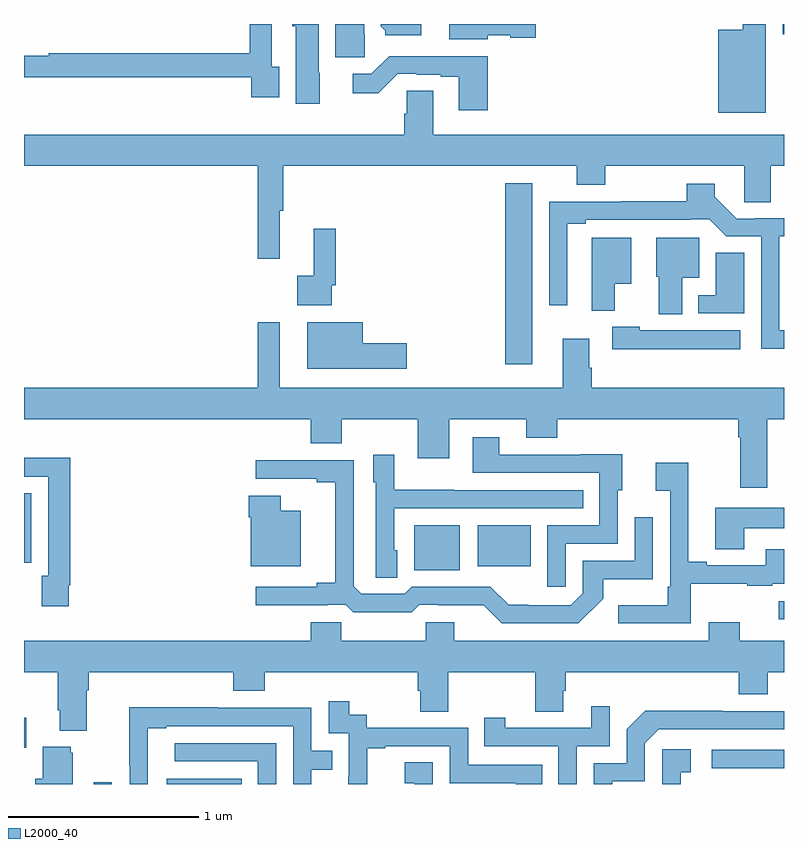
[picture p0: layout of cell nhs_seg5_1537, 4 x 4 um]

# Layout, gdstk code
import gdstk
lib = gdstk.Library(unit=1e-6, precision=1e-09)
def R(c, l, rs):  # rectangles x0, y0, x1, y1
    for r in rs: c.add(gdstk.rectangle(r[:2], r[2:], *l))
def P(c, l, *ps):  # polygons
    for p in ps: c.add(gdstk.Polygon(p, *l))
L2000_40 = (2000, 40)

nhs_seg5_1537 = lib.new_cell('nhs_seg5_1537')
R(nhs_seg5_1537, L2000_40, [(203.367,894.799,203.463,894.808), (203.75,894.799,204.146,894.826), (206.619,894.882,207,894.978), (203,894.991,203.011,895.147), (206.973,895.667,207,895.761), (205.055,895.925,205.294,896.161), (205.388,895.946,205.666,896.161), (203,895.964,203.038,896.33), (205.532,897.009,205.675,897.961), (206.993,898.745,207,898.799)])
P(nhs_seg5_1537, L2000_40, [(205.44,898.739),(205.56,898.739),(205.56,898.727),(205.693,898.727),(205.693,898.799),(205.238,898.799),(205.238,898.718),(205.44,898.718)],
  [(204.556,898.542),(204.55,898.542),(204.55,898.799),(204.413,898.799),(204.413,898.788),(204.431,898.788),(204.431,898.38),(204.556,898.38)],
  [(206.905,898.799),(206.784,898.799),(206.784,898.768),(206.654,898.768),(206.654,898.331),(206.905,898.331)],
  [(204.343,898.574),(204.303,898.574),(204.303,898.799),(204.187,898.799),(204.187,898.646),(203.131,898.646),(203.131,898.631),(203,898.631),(203,898.518),(204.195,898.518),(204.195,898.413),(204.343,898.413)],
  [(205.09,898.799),(204.878,898.799),(204.878,898.786),(204.9,898.764),(204.9,898.739),(205.09,898.739)],
  [(204.794,898.746),(204.79,898.746),(204.79,898.799),(204.638,898.799),(204.638,898.623),(204.794,898.623)],
  [(205.442,898.63),(204.922,898.63),(204.828,898.536),(204.729,898.536),(204.729,898.434),(204.864,898.434),(204.966,898.536),(205.066,898.536),(205.066,898.533),(205.193,898.533),(205.193,898.521),(205.289,898.521),(205.289,898.344),(205.442,898.344)],
  [(204.347,897.816),(204.365,897.816),(204.365,898.052),(205.91,898.052),(205.91,897.953),(206.058,897.953),(206.058,898.052),(206.79,898.052),(206.79,897.862),(206.929,897.862),(206.929,898.052),(207,898.052),(207,898.216),(205.153,898.216),(205.153,898.448),(205.014,898.448),(205.014,898.326),(205.001,898.326),(205.001,898.216),(203,898.216),(203,898.052),(204.229,898.052),(204.229,897.564),(204.347,897.564)],
  [(207,897.186),(206.976,897.186),(206.976,897.681),(207,897.681),(207,897.777),(206.845,897.777),(206.845,897.774),(206.751,897.774),(206.635,897.89),(206.635,897.958),(206.488,897.958),(206.488,897.866),(206.146,897.866),(206.146,897.864),(205.764,897.864),(205.764,897.318),(205.86,897.318),(205.86,897.748),(205.957,897.748),(205.957,897.768),(206.51,897.768),(206.51,897.771),(206.606,897.771),(206.696,897.681),(206.88,897.681),(206.88,897.089),(207,897.089)],
  [(204.621,897.424),(204.641,897.424),(204.641,897.721),(204.524,897.721),(204.524,897.473),(204.438,897.473),(204.438,897.32),(204.621,897.32)],
  [(206.464,897.464),(206.554,897.464),(206.554,897.673),(206.327,897.673),(206.327,897.468),(206.342,897.468),(206.342,897.272),(206.464,897.272)],
  [(206.11,897.431),(206.197,897.431),(206.197,897.673),(205.988,897.673),(205.988,897.29),(206.11,897.29)],
  [(206.791,897.596),(206.642,897.596),(206.642,897.372),(206.549,897.372),(206.549,897.276),(206.791,897.276)],
  [(205.015,897.119),(204.784,897.119),(204.784,897.229),(204.491,897.229),(204.491,896.984),(205.015,896.984)],
  [(206.911,896.72),(207,896.72),(207,896.884),(205.988,896.884),(205.988,896.99),(205.975,896.99),(205.975,897.142),(205.835,897.142),(205.835,896.884),(204.346,896.884),(204.346,897.229),(204.229,897.229),(204.229,896.884),(203,896.884),(203,896.72),(204.509,896.72),(204.509,896.592),(204.673,896.592),(204.673,896.72),(205.073,896.72),(205.073,896.514),(205.237,896.514),(205.237,896.72),(205.643,896.72),(205.643,896.621),(205.807,896.621),(205.807,896.72),(206.759,896.72),(206.759,896.624),(206.771,896.624),(206.771,896.358),(206.911,896.358)],
  [(206.77,897.187),(206.241,897.187),(206.241,897.205),(206.097,897.205),(206.097,897.086),(206.77,897.086)],
  [(205.851,896.064),(206.124,896.064),(206.124,896.346),(206.149,896.346),(206.149,896.534),(205.931,896.534),(205.931,896.532),(205.501,896.532),(205.501,896.623),(205.361,896.623),(205.361,896.436),(206.028,896.436),(206.028,896.16),(205.755,896.16),(205.755,895.836),(205.851,895.836)],
  [(204.964,896.028),(204.948,896.028),(204.948,896.25),(205.943,896.25),(205.943,896.346),(205.265,896.346),(205.265,896.347),(204.948,896.347),(204.948,896.533),(204.839,896.533),(204.839,896.388),(204.852,896.388),(204.852,895.885),(204.964,895.885)],
  [(203.236,895.846),(203.243,895.846),(203.243,896.515),(203,896.515),(203,896.415),(203.127,896.415),(203.127,895.895),(203.093,895.895),(203.093,895.734),(203.236,895.734)],
  [(206.049,895.775),(206.049,895.877),(206.31,895.877),(206.31,896.203),(206.214,896.203),(206.214,895.974),(205.941,895.974),(205.941,895.803),(205.878,895.74),(205.654,895.74),(205.654,895.742),(205.55,895.742),(205.455,895.836),(205.041,895.836),(205.005,895.8),(204.774,895.8),(204.735,895.839),(204.735,896.502),(204.219,896.502),(204.219,896.406),(204.542,896.406),(204.542,896.386),(204.638,896.386),(204.638,895.859),(204.542,895.859),(204.542,895.836),(204.219,895.836),(204.219,895.739),(204.599,895.739),(204.599,895.743),(204.693,895.743),(204.733,895.704),(205.041,895.704),(205.08,895.743),(205.18,895.743),(205.18,895.739),(205.421,895.739),(205.515,895.644),(205.918,895.644)],
  [(206.509,895.853),(206.807,895.853),(206.807,895.842),(206.939,895.842),(206.939,895.854),(207,895.854),(207,896.035),(206.903,896.035),(206.903,895.95),(206.593,895.95),(206.593,895.969),(206.497,895.969),(206.497,896.491),(206.325,896.491),(206.325,896.342),(206.4,896.342),(206.4,895.837),(206.388,895.837),(206.388,895.741),(206.127,895.741),(206.127,895.644),(206.509,895.644)],
  [(204.457,896.236),(204.352,896.236),(204.352,896.317),(204.182,896.317),(204.182,896.204),(204.194,896.204),(204.194,895.946),(204.457,895.946)],
  [(206.791,896.144),(207,896.144),(207,896.254),(206.639,896.254),(206.639,896.035),(206.791,896.035)],
  [(203.329,895.292),(203.342,895.292),(203.342,895.388),(204.101,895.388),(204.101,895.289),(204.266,895.289),(204.266,895.388),(205.073,895.388),(205.073,895.29),(205.085,895.29),(205.085,895.18),(205.233,895.18),(205.233,895.388),(205.69,895.388),(205.69,895.18),(205.837,895.18),(205.837,895.29),(205.85,895.29),(205.85,895.388),(206.762,895.388),(206.762,895.271),(206.914,895.271),(206.914,895.388),(207,895.388),(207,895.552),(206.767,895.552),(206.767,895.651),(206.603,895.651),(206.603,895.552),(205.264,895.552),(205.264,895.65),(205.114,895.65),(205.114,895.552),(204.669,895.552),(204.669,895.65),(204.509,895.65),(204.509,895.552),(203,895.552),(203,895.388),(203.177,895.388),(203.177,895.186),(203.189,895.186),(203.189,895.079),(203.329,895.079)],
  [(204.806,894.987),(204.901,894.987),(204.901,894.999),(205.242,894.999),(205.242,894.804),(205.587,894.804),(205.587,894.799),(205.727,894.799),(205.727,894.9),(205.338,894.9),(205.338,895.095),(204.804,895.095),(204.804,895.164),(204.712,895.164),(204.712,895.234),(204.603,895.234),(204.603,895.065),(204.708,895.065),(204.708,894.836),(204.707,894.836),(204.707,894.799),(204.806,894.799)],
  [(205.908,894.999),(206.082,894.999),(206.082,895.207),(205.985,895.207),(205.985,895.095),(205.534,895.095),(205.534,895.147),(205.423,895.147),(205.423,894.999),(205.812,894.999),(205.812,894.799),(205.908,894.799)],
  [(203.652,895.092),(203.749,895.092),(203.749,895.104),(204.417,895.104),(204.417,894.799),(204.513,894.799),(204.513,894.874),(204.623,894.874),(204.623,894.975),(204.513,894.975),(204.513,895.2),(204.017,895.2),(204.017,895.202),(203.554,895.202),(203.554,894.895),(203.556,894.895),(203.556,894.799),(203.652,894.799)],
  [(206.095,894.813),(206.268,894.813),(206.268,895.014),(206.34,895.086),(207,895.086),(207,895.182),(206.678,895.182),(206.678,895.184),(206.27,895.184),(206.172,895.086),(206.172,894.909),(205.998,894.909),(205.998,894.799),(206.095,894.799)],
  [(204.327,895.014),(203.793,895.014),(203.793,894.918),(204.231,894.918),(204.231,894.799),(204.327,894.799)],
  [(203.257,894.963),(203.246,894.963),(203.246,894.994),(203.099,894.994),(203.099,894.826),(203.06,894.826),(203.06,894.799),(203.257,894.799)],
  [(206.456,894.861),(206.509,894.861),(206.509,894.982),(206.358,894.982),(206.358,894.799),(206.456,894.799)],
  [(205.152,894.913),(205.005,894.913),(205.005,894.803),(205.054,894.803),(205.054,894.799),(205.152,894.799)])

lib.write_gds('nhs_seg5_1537.gds')
